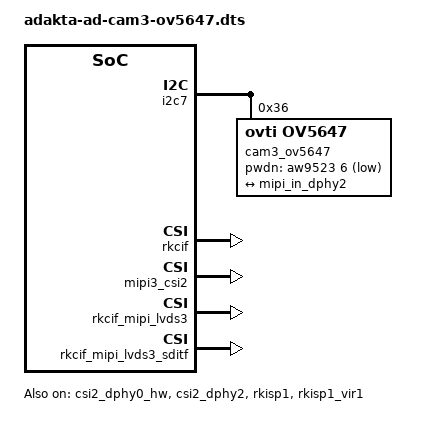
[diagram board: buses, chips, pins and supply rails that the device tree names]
/dts-v1/;
/plugin/;

#include <dt-bindings/gpio/gpio.h>
#include <dt-bindings/pinctrl/rockchip.h>

/ {
	metadata {
		title = "Enable OV5647 MIPI-CSI Camera 3";
		compatible = "adakta,adakta-ad-rk3588";
		category = "camera";
		description = "Enable OV5647 MIPI-CSI Camera 3";
	};

	fragment@0 {
		target = <&i2c7>;

		__overlay__ {
			status = "okay";

			cam3_ov5647: cam3_ov5647@36 {
				status = "okay";

				compatible = "ovti,ov5647";
				reg = <0x36>;

				pinctrl-names = "default";
				pinctrl-0 = <&aw9523_cam3_reset_pins>;

				pwdn-gpios = <&aw9523 6 GPIO_ACTIVE_LOW>;

				clocks = <&clk_cam_25m>;
				clock-names = "xvclk";

				rockchip,camera-module-index = <3>;
				rockchip,camera-module-facing = "back";
				rockchip,camera-module-name = "KLT-OV5647";
				rockchip,camera-module-lens-name = "default";

				port {
					cam3_ov5647_out: endpoint {
						remote-endpoint = <&mipi_in_dphy2>;
						data-lanes = <1 2>;
					};
				};
			};
		};
	};

	fragment@1 {
		target = <&mipi_in_dphy2>;

		__overlay__ {
			remote-endpoint = <&cam3_ov5647_out>;
			data-lanes = <1 2>;
		};
	};

	fragment@2 {
		target = <&rkcif>;

		__overlay__ {
			status = "okay";
		};
	};

	fragment@3 {
		target = <&rkcif_mmu>;

		__overlay__ {
			status = "okay";
		};
	};

	fragment@4 {
		target = <&csi2_dphy0_hw>;

		__overlay__ {
			status = "okay";
		};
	};

	fragment@5 {
		target = <&csi2_dphy2>;

		__overlay__ {
			status = "okay";
		};
	};

	fragment@6 {
		target = <&mipi3_csi2>;

		__overlay__ {
			status = "okay";
		};
	};

	fragment@7 {
		target = <&rkcif_mipi_lvds3>;

		__overlay__ {
			status = "okay";
		};
	};

	fragment@8 {
		target = <&rkcif_mipi_lvds3_sditf>;

		__overlay__ {
			status = "okay";
		};
	};

	fragment@9 {
		target = <&rkisp1>;

		__overlay__ {
			status = "okay";
		};
	};

	fragment@10 {
		target = <&isp1_mmu>;

		__overlay__ {
			status = "okay";
		};
	};

	fragment@11 {
		target = <&rkisp1_vir1>;

		__overlay__ {
			status = "okay";
		};
	};
};
